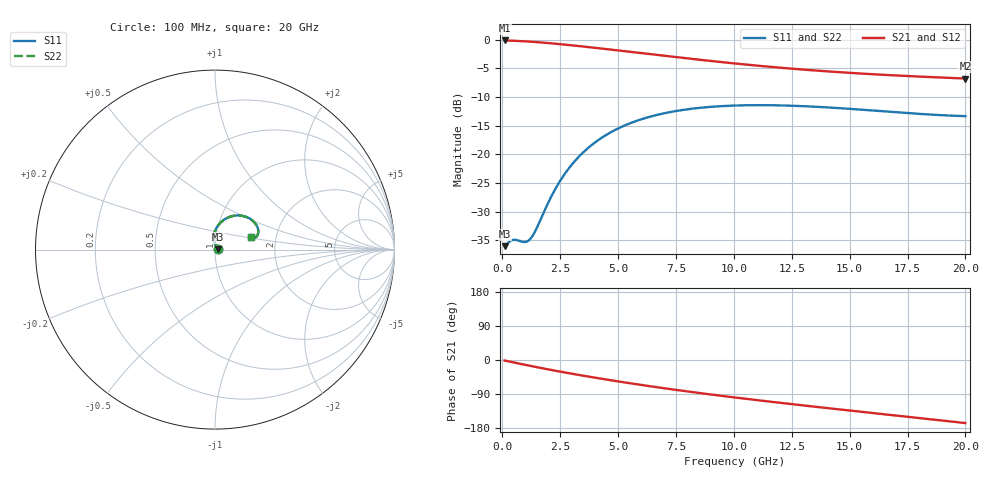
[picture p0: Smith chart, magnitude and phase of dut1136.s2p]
! Touchstone file exported from HFSS 2024.1.0
!  File:  C:/UserFiles/LocalFiles/RDL_TSV_Batchsim/temp_RDL_TSV_1136_1780112196.aedt
!  Generated:  11:50:48 AM May 30, 2026
!  Design:  RDL_TSV
!  Project:  temp_RDL_TSV_1136_1780112196
!  Setup:  Setup1
!  Solution:  Sweep
! Variables:
!  dtsv = 6.22um
!  hbump = 3um
!  htsv = 54.94um
!  ldown = 323.46um
!  lrdl = 406.32um
!  p = 40
!  p1 = 43um
!  rhole = 10um
!  subl = 2595.66um
!  t = 450um
!  tdown = 2.6um
!  trdl = 2.32um
!  viad = 10um
!  wdown = 23.99um
!  wrdl = 28.74um
!  xbump = 18um
# GHz S MA R 50.000000
! Terminal data exported
! Port[1] = TM1_1_T1
! Port[2] = TM1_4_T1
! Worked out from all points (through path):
!   200 points, 100 MHz to 20 GHz, reference 50 ohm
!   highest |S21| = -0.14 dB at 100 MHz (marker M1); lowest = -6.8 dB at 20 GHz (marker M2)
!   group delay of S21, straight-line fit = 22.1 ps
!   lowest |S11| = -36.0 dB at 100 MHz (marker M3), VSWR 1.03, Z = 51.6 + j0.203 ohm
!   |S11| at or under -10 dB: start of sweep to end of sweep
!   |S22| runs from -36.0 to -11.5 dB; largest |S21 - S12| = 9.6e-15
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0.1  0.0158 7.1  0.9841 -1.4  0.9841 -1.4  0.0158 7.1
! Gamma 0 0 0 0
! Port Impedance 50 0 50 0
0.4  0.01779 19.3  0.9797 -5.3  0.9797 -5.3  0.01779 19.3
0.6  0.01791 24.9  0.9758 -7.9  0.9758 -7.9  0.01793 24.9
1  0.01718 45.1  0.9666 -12.9  0.9666 -12.9  0.0172 45.0
1.2  0.01817 59.5  0.9611 -15.4  0.9611 -15.4  0.01816 59.3
1.4  0.02094 73.1  0.9549 -17.8  0.9549 -17.8  0.02091 72.9
2.1  0.04224 94.8  0.9298 -26.1  0.9298 -26.1  0.04211 94.7
2.5  0.0588 96.1  0.9137 -30.7  0.9137 -30.7  0.05861 96.1
3  0.08125 93.8  0.8926 -36.2  0.8926 -36.2  0.08099 93.8
3.5  0.1042 89.7  0.871 -41.5  0.871 -41.5  0.1039 89.7
4.2  0.1354 82.9  0.8405 -48.6  0.8405 -48.6  0.135 82.8
4.9  0.1641 75.8  0.8101 -55.5  0.8101 -55.5  0.1636 75.8
5.8  0.1957 67.1  0.772 -64.0  0.772 -64.0  0.1952 67.1
6.8  0.2235 58.3  0.7314 -72.9  0.7314 -72.9  0.2229 58.2
8.4  0.2527 46.1  0.6721 -86.2  0.6721 -86.2  0.2519 46.0
10.1  0.2665 35.7  0.6182 -99.3  0.6182 -99.3  0.2657 35.7
11.7  0.2678 28.1  0.5763 -110.9  0.5763 -110.9  0.2669 28.0
13.4  0.2607 22.1  0.5405 -122.6  0.5405 -122.6  0.2598 22.1
15  0.2493 18.5  0.5135 -133.3  0.5135 -133.3  0.2485 18.4
16.7  0.2353 16.7  0.4907 -144.6  0.4907 -144.6  0.2345 16.7
18.4  0.2227 17.2  0.4724 -155.8  0.4724 -155.8  0.2219 17.2
20  0.2152 19.5  0.4583 -166.4  0.4583 -166.4  0.2144 19.5
